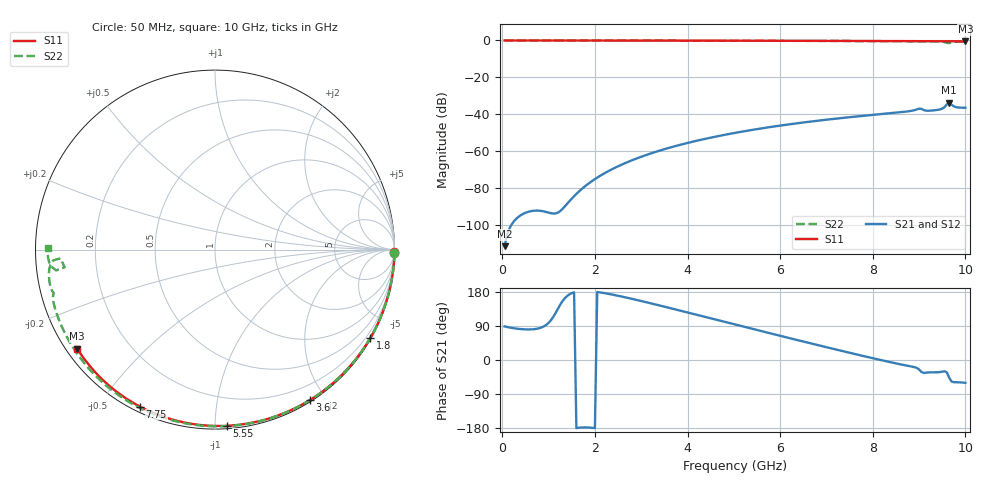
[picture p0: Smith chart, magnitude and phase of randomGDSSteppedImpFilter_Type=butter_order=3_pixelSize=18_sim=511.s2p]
! freq	dB(S11)	phase(S11)	dB(S12)	phase(S12)
!  dB(S21)	phase(S21)	dB(S22)	phase(S22)
!S-par simulation data
#  GHz  S  DB  R 50
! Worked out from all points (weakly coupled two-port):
!   200 points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, 50 MHz to 10 GHz, reference 50 ohm
!   highest |S21| = -33.70 dB at 9.65 GHz (marker M1); lowest = -111.4 dB at 50 MHz (marker M2)
!   lowest |S11| = -0.5 dB at 10 GHz (marker M3), VSWR 35.58, Z = 1.55 - j16.1 ohm
!   |S11| at or under -10 dB: nowhere
!   |S22| runs from -1.5 to 0.0 dB; largest |S21 - S12| = 0
!   S11 on the Smith chart (normalised r, x): 50 MHz: open; 1.8 GHz: 0.03, -3.78; 3.6 GHz: 0.02, -1.81; 5.55 GHz: 0.02, -1.07; 7.75 GHz: 0.02, -0.63; 10 GHz: 0.03, -0.32
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0.05  -0.00 -0.8  -111.41 88.6  -111.41 88.6  -0.00 -1.0
0.85  -0.02 -14.1  -92.35 85.9  -92.35 85.9  -0.02 -17.5
1.75  -0.04 -28.8  -79.70 -177.9  -79.70 -177.9  -0.05 -35.5
1.8  -0.04 -29.6  -78.69 -177.9  -78.69 -177.9  -0.05 -36.5
2.1  -0.04 -34.5  -73.48 178.6  -73.48 178.6  -0.05 -42.4
2.5  -0.05 -40.8  -68.14 169.5  -68.14 169.5  -0.06 -50.2
3.4  -0.07 -54.8  -59.64 143.8  -59.64 143.8  -0.09 -67.2
3.6  -0.08 -57.8  -58.16 137.7  -58.16 137.7  -0.10 -70.9
5.05  -0.12 -79.1  -49.94 93.0  -49.94 93.0  -0.15 -96.8
5.55  -0.14 -86.1  -47.81 77.6  -47.81 77.6  -0.17 -105.4
6.7  -0.20 -101.8  -43.80 42.7  -43.80 42.7  -0.24 -124.8
7.75  -0.27 -115.5  -40.92 11.8  -40.92 11.8  -0.33 -142.4
8.35  -0.32 -123.2  -39.49 -5.0  -39.49 -5.0  -0.39 -152.7
8.8  -0.36 -129.0  -38.27 -16.3  -38.27 -16.3  -0.46 -160.8
9  -0.38 -131.5  -36.94 -25.0  -36.94 -25.0  -0.59 -164.5
9.15  -0.39 -133.4  -38.03 -33.4  -38.03 -33.4  -0.55 -166.5
9.4  -0.42 -136.6  -37.59 -32.4  -37.59 -32.4  -0.59 -172.0
9.5  -0.43 -137.9  -36.92 -30.9  -36.92 -30.9  -0.71 -174.7
9.6  -0.44 -139.1  -34.59 -32.6  -34.59 -32.6  -1.29 -176.8
9.65  -0.45 -139.8  -33.70 -46.7  -33.70 -46.7  -1.48 -173.3
9.8  -0.46 -141.7  -36.13 -58.6  -36.13 -58.6  -0.66 -175.7
10  -0.49 -144.3  -36.44 -60.4  -36.44 -60.4  -0.60 179.4
